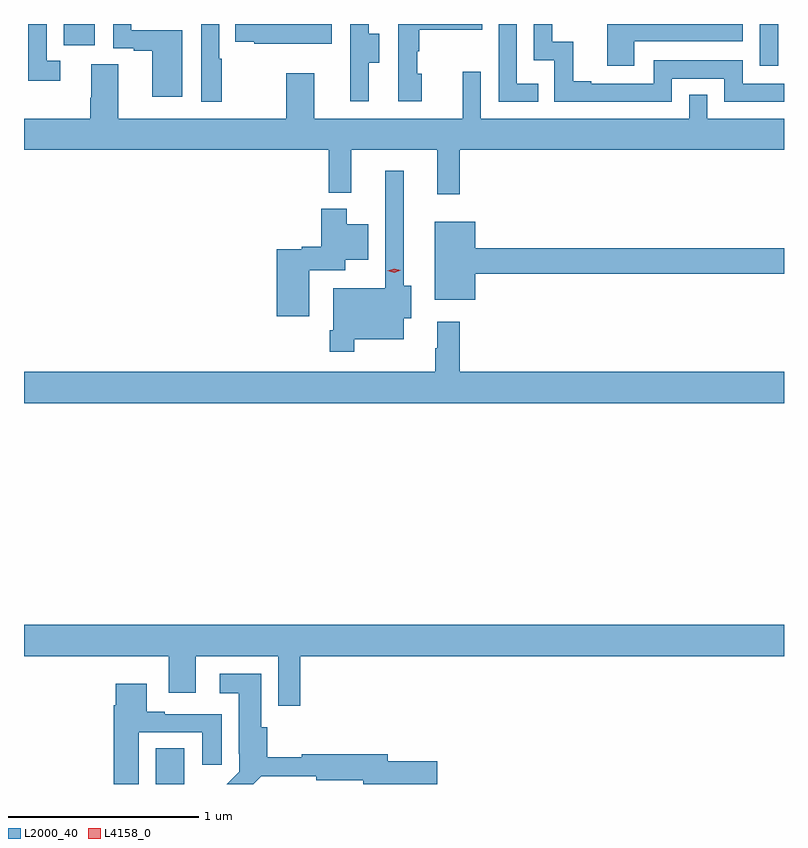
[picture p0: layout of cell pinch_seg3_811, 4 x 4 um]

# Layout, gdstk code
import gdstk
lib = gdstk.Library(unit=1e-6, precision=1e-09)
def R(c, l, rs):  # rectangles x0, y0, x1, y1
    for r in rs: c.add(gdstk.rectangle(r[:2], r[2:], *l))
def P(c, l, *ps):  # polygons
    for p in ps: c.add(gdstk.Polygon(p, *l))
L2000_40 = (2000, 40)
L4158_0 = (4158, 0)

pinch_seg3_811 = lib.new_cell('pinch_seg3_811')
R(pinch_seg3_811, L2000_40, [(862.886,722.887,863.035,723.074), (866.064,726.666,866.161,726.887), (862.4,726.774,862.564,726.887)])
P(pinch_seg3_811, L2000_40, [(864.899,726.573),(864.786,726.573),(864.786,726.887),(864.69,726.887),(864.69,726.477),(864.899,726.477)],
  [(865.602,726.6),(865.878,726.6),(865.878,726.477),(866.192,726.477),(866.192,726.573),(865.974,726.573),(865.974,726.696),(865.506,726.696),(865.506,726.573),(865.177,726.573),(865.177,726.586),(865.082,726.586),(865.082,726.794),(864.972,726.794),(864.972,726.887),(864.876,726.887),(864.876,726.696),(864.984,726.696),(864.984,726.477),(865.602,726.477)],
  [(863.813,726.887),(863.305,726.887),(863.305,726.793),(863.403,726.793),(863.403,726.782),(863.813,726.782)],
  [(864.007,726.682),(864.061,726.682),(864.061,726.837),(864.006,726.837),(864.006,726.887),(863.91,726.887),(863.91,726.693),(863.909,726.693),(863.909,726.48),(864.007,726.48)],
  [(864.286,726.624),(864.261,726.624),(864.261,726.743),(864.271,726.743),(864.271,726.857),(864.605,726.857),(864.605,726.887),(864.162,726.887),(864.162,726.48),(864.286,726.48)],
  [(865.405,726.795),(865.974,726.795),(865.974,726.887),(865.261,726.887),(865.261,726.666),(865.405,726.666)],
  [(863.026,726.855),(862.757,726.855),(862.757,726.887),(862.662,726.887),(862.662,726.759),(862.769,726.759),(862.769,726.747),(862.868,726.747),(862.868,726.504),(863.026,726.504)],
  [(863.233,726.704),(863.22,726.704),(863.22,726.887),(863.124,726.887),(863.124,726.477),(863.233,726.477)],
  [(862.384,726.693),(862.311,726.693),(862.311,726.887),(862.214,726.887),(862.214,726.856),(862.215,726.856),(862.215,726.588),(862.384,726.588)],
  [(864.485,726.224),(866.192,726.224),(866.192,726.388),(865.788,726.388),(865.788,726.515),(865.692,726.515),(865.692,726.388),(864.597,726.388),(864.597,726.637),(864.5,726.637),(864.5,726.388),(863.719,726.388),(863.719,726.628),(863.572,726.628),(863.572,726.388),(862.687,726.388),(862.687,726.674),(862.547,726.674),(862.547,726.5),(862.54,726.5),(862.54,726.388),(862.192,726.388),(862.192,726.224),(863.797,726.224),(863.797,725.999),(863.915,725.999),(863.915,726.224),(864.368,726.224),(864.368,725.991),(864.485,725.991)],
  [(863.929,725.228),(864.19,725.228),(864.19,725.339),(864.229,725.339),(864.229,725.51),(864.19,725.51),(864.19,726.115),(864.093,726.115),(864.093,725.497),(863.82,725.497),(863.82,725.275),(863.8,725.275),(863.8,725.163),(863.929,725.163)],
  [(863.692,725.591),(863.884,725.591),(863.884,725.645),(864.004,725.645),(864.004,725.833),(863.89,725.833),(863.89,725.914),(863.756,725.914),(863.756,725.714),(863.655,725.714),(863.655,725.701),(863.522,725.701),(863.522,725.349),(863.692,725.349)],
  [(864.568,725.572),(866.192,725.572),(866.192,725.708),(864.568,725.708),(864.568,725.845),(864.353,725.845),(864.353,725.435),(864.568,725.435)],
  [(866.192,725.056),(864.485,725.056),(864.485,725.32),(864.368,725.32),(864.368,725.18),(864.357,725.18),(864.357,725.056),(862.192,725.056),(862.192,724.892),(866.192,724.892)],
  [(863.645,723.56),(866.192,723.56),(866.192,723.724),(862.192,723.724),(862.192,723.56),(862.955,723.56),(862.955,723.366),(863.095,723.366),(863.095,723.56),(863.529,723.56),(863.529,723.3),(863.645,723.3)],
  [(863.44,722.928),(863.731,722.928),(863.731,722.908),(863.978,722.908),(863.978,722.887),(864.367,722.887),(864.367,723.008),(864.106,723.008),(864.106,723.044),(863.654,723.044),(863.654,723.029),(863.471,723.029),(863.471,723.186),(863.44,723.186),(863.44,723.466),(863.223,723.466),(863.223,723.365),(863.321,723.365),(863.321,723.046),(863.325,723.046),(863.325,722.952),(863.26,722.887),(863.399,722.887)],
  [(862.795,723.159),(863.129,723.159),(863.129,722.988),(863.233,722.988),(863.233,723.255),(862.933,723.255),(862.933,723.268),(862.837,723.268),(862.837,723.415),(862.676,723.415),(862.676,723.302),(862.664,723.302),(862.664,722.887),(862.795,722.887)])
P(pinch_seg3_811, L4158_0, [(864.141,725.579),(864.105,725.588),(864.104,725.588),(864.105,725.588),(864.14,725.599),(864.176,725.591),(864.176,725.59),(864.176,725.59)])

lib.write_gds('pinch_seg3_811.gds')
